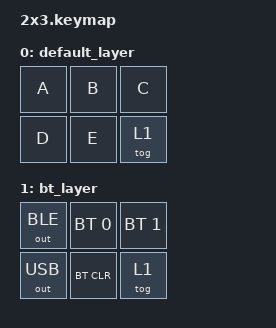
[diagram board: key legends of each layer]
#include <behaviors.dtsi>
#include <dt-bindings/zmk/keys.h>
#include <dt-bindings/zmk/bt.h>
#include <dt-bindings/zmk/outputs.h>

/ {
    keymap {
        compatible = "zmk,keymap";

        // Bridging a ROW pin to a COLUMN pin presses the key at that position.
        //   row 0 = D5   row 1 = D6
        //   col 0 = D2   col 1 = D3   col 2 = D4
        // e.g. D5-D2 = A
        default_layer { // Layer 0
            // -------------------------------------
            // |     A     |     B     |     C     |
            // |     D     |     E     | toggle L1 |
            // -------------------------------------
            bindings = <
                &kp A    &kp B    &kp C
                &kp D    &kp E    &tog 1
            >;
        };

        // Toggle (not hold) so a single jumper wire can drive the keyboard:
        // bridge D6-D4 once to switch to this layer, use any pair below, then
        // bridge D6-D4 again to come back.
        bt_layer { // Layer 1
            // -------------------------------------
            // |  out BLE  |  BT SEL 0 |  BT SEL 1 |
            // |  out USB  |  BT CLR   | back to L0|
            // -------------------------------------
            bindings = <
                &out OUT_BLE  &bt BT_SEL 0  &bt BT_SEL 1
                &out OUT_USB  &bt BT_CLR    &tog 1
            >;
        };
    };
};
